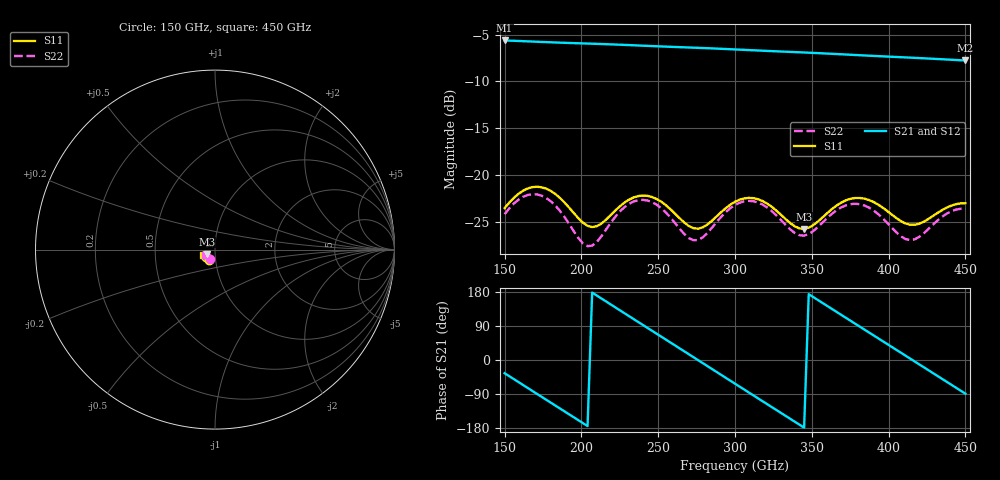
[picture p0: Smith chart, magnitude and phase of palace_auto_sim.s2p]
#  GHZ S DB R 50
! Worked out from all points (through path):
!   101 points, 150 GHz to 450 GHz, reference 50 ohm
!   highest |S21| = -5.63 dB at 150 GHz (marker M1); lowest = -7.8 dB at 450 GHz (marker M2)
!   group delay of S21, straight-line fit = 7.17 ps
!   lowest |S11| = -25.8 dB at 345 GHz (marker M3), VSWR 1.11, Z = 45.6 - j2.17 ohm
!   |S11| at or under -10 dB: start of sweep to end of sweep
!   |S22| runs from -27.6 to -22.1 dB; largest |S21 - S12| = 9.8e-14
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150  -23.55 -120.3  -5.63 -34.8  -5.63 -34.8  -24.19 -118.2
162  -21.69 -127.8  -5.71 -65.9  -5.71 -65.9  -22.34 -127.8
174  -21.32 -141.5  -5.79 -96.9  -5.79 -96.9  -22.21 -143.1
186  -22.46 -153.2  -5.87 -127.9  -5.87 -127.9  -23.84 -155.4
201  -25.10 -152.4  -5.95 -166.6  -5.95 -166.6  -27.32 -149.1
216  -24.79 -136.2  -6.03 154.6  -6.03 154.6  -25.85 -126.4
231  -22.64 -139.3  -6.13 115.8  -6.13 115.8  -23.09 -133.7
252  -22.87 -157.6  -6.27 61.5  -6.27 61.5  -23.55 -155.9
264  -24.64 -160.3  -6.35 30.6  -6.35 30.6  -25.76 -158.4
276  -25.74 -149.5  -6.42 -0.4  -6.42 -0.4  -26.95 -143.5
288  -24.44 -140.4  -6.50 -31.5  -6.50 -31.5  -25.05 -133.5
300  -22.87 -144.4  -6.59 -62.5  -6.59 -62.5  -23.21 -139.5
321  -23.07 -161.0  -6.75 -116.6  -6.75 -116.6  -23.49 -159.0
333  -24.73 -163.1  -6.83 -147.6  -6.83 -147.6  -25.35 -161.6
345  -25.77 -152.6  -6.92 -178.5  -6.92 -178.5  -26.48 -150.1
351  -25.36 -146.4  -6.96 166.0  -6.96 166.0  -26.00 -143.6
366  -23.29 -144.5  -7.08 127.3  -7.08 127.3  -23.79 -143.0
378  -22.47 -152.7  -7.18 96.4  -7.18 96.4  -23.08 -152.5
402  -24.23 -164.6  -7.38 34.7  -7.38 34.7  -25.62 -164.8
423  -24.99 -150.4  -7.54 -19.4  -7.54 -19.4  -26.22 -143.2
438  -23.48 -149.3  -7.67 -58.0  -7.67 -58.0  -24.12 -143.3
450  -23.02 -155.3  -7.77 -88.8  -7.77 -88.8  -23.61 -151.2
